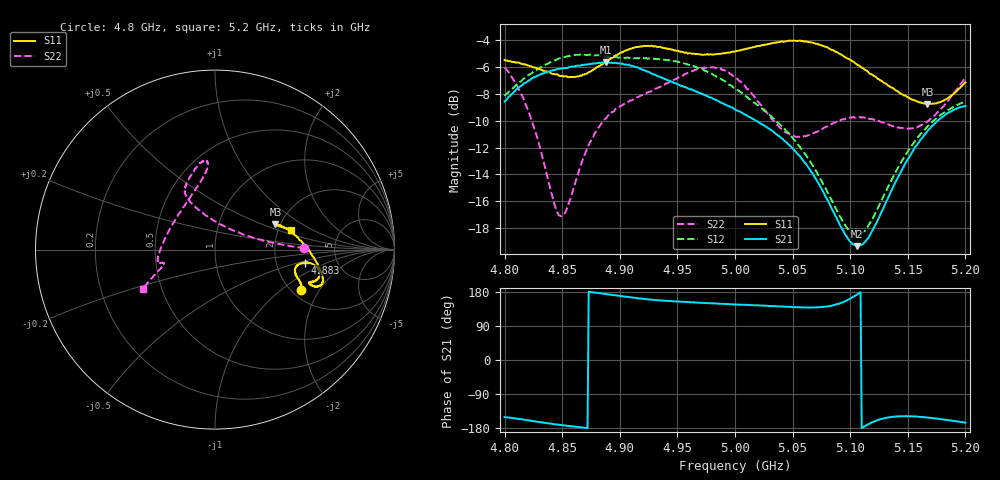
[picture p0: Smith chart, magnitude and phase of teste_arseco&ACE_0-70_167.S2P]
! Network Analyzer HP8722D
! Hewlett-Packard
! Data name: Linha & Wilkinson
! Saver's name: Rodrigo Anjos
! Comments: Teste da utilização de aquisição
! continua pelo VNA HP8722D
! Time and date: 8/5/2025 14:09
!  Frequency  S11  S21  S12  S22
# HZ  S  MA R 50
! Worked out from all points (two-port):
!   401 points, 4.8 GHz to 5.2 GHz, reference 50 ohm
!   highest |S21| = -5.66 dB at 4.888 GHz (marker M1); lowest = -19.3 dB at 5.106 GHz (marker M2)
!   |S21| within 3 dB of the highest: start of sweep to 4.988 GHz
!   lowest |S11| = -8.8 dB at 5.167 GHz (marker M3), VSWR 2.15, Z = 94.3 + j30.4 ohm
!   |S11| at or under -10 dB: nowhere
!   |S22| runs from -17.1 to -6.0 dB; largest |S21 - S12| = 1.1
!   S11 on the Smith chart (normalised r, x): 4.8 GHz: 2.24, -1.41; 4.883 GHz: 2.92, -0.57; 5.2 GHz: 2.35, +0.64
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4.8e9  0.5316 -25.2  0.3723 -150.7  0.3905 8.9  0.4975 0.8
4.821e9  0.506 -20.8  0.4465 -159.6  0.4669 5.6  0.3389 6.1
4.847e9  0.4658 -16.1  0.4929 -170.6  0.5379 1.6  0.1408 54.8
4.854e9  0.4622 -14.6  0.4958 -173.3  0.5482 0.4  0.1489 82.4
4.867e9  0.4637 -10.8  0.5089 -178.1  0.5553 -1.5  0.2215 109.6
4.883e9  0.506 -8.3  0.5172 176.1  0.5511 -2.7  0.3036 117.4
4.888e9  0.5251 -7.9  0.5209 174.2  0.5487 -2.8  0.3223 118.4
4.912e9  0.5888 -11.3  0.5039 164.2  0.5392 -2.0  0.3806 116.2
4.934e9  0.5943 -16.3  0.4607 157.4  0.5356 -3.1  0.4204 110.2
4.975e9  0.5568 -19.3  0.3913 150.4  0.4832 -6.5  0.4973 97.1
5e9  0.5718 -20.1  0.3481 146.5  0.4178 -6.5  0.4595 95.6
5.017e9  0.5937 -20.2  0.3184 144.6  0.3684 -3.7  0.3868 102.0
5.043e9  0.6222 -18.2  0.2657 140.8  0.2947 1.7  0.2881 130.4
5.067e9  0.6171 -13.6  0.2021 138.6  0.2169 8.9  0.2822 165.0
5.095e9  0.546 -4.1  0.1206 154.1  0.1304 34.5  0.3193 -172.5
5.106e9  0.5106 1.0  0.108 173.0  0.1187 55.5  0.3261 -168.9
5.117e9  0.4728 6.7  0.1184 -167.5  0.131 76.7  0.3206 -166.8
5.134e9  0.4248 14.9  0.167 -151.0  0.1834 94.5  0.3044 -166.0
5.151e9  0.3844 20.8  0.2307 -148.4  0.2468 99.9  0.2957 -164.7
5.167e9  0.3645 22.6  0.2883 -151.9  0.3005 100.9  0.3145 -161.6
5.182e9  0.3779 20.5  0.3315 -157.4  0.34 100.9  0.3624 -157.3
5.2e9  0.439 14.6  0.358 -165.3  0.3721 101.3  0.4572 -151.5
